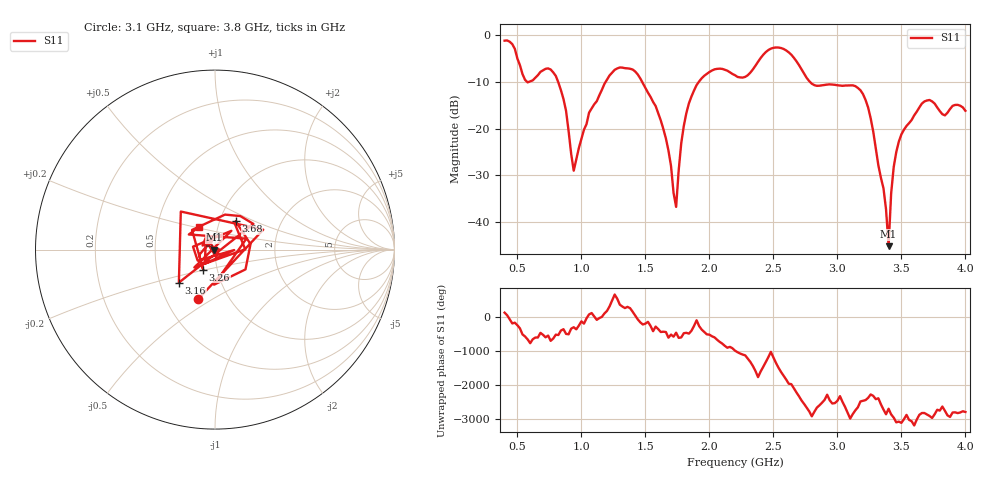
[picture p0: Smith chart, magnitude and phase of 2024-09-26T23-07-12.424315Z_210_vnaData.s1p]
!Created with skrf (http://scikit-rf.org).
# Hz S RI R 50.0
!freq ReS11 ImS11
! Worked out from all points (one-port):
!   181 points, 400 MHz to 4 GHz, reference 50 ohm
!   lowest |S11| = -45.1 dB at 3.4 GHz (marker M1), VSWR 1.01, Z = 49.4 + j0.00402 ohm
!   |S11| at or under -10 dB: 818.3 MHz to 1.189 GHz (370.8 MHz wide, 36.9 % of centre); 1.475 GHz to 1.917 GHz (442.6 MHz wide, 26.1 % of centre); 2.786 GHz to end of sweep (the widest 3 of 4)
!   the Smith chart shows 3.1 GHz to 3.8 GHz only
!   S11 on the Smith chart (normalised r, x): 3.1 GHz: 0.72, -0.43; 3.16 GHz: 0.63, -0.25; 3.26 GHz: 0.86, -0.19; 3.68 GHz: 1.19, +0.39; 3.8 GHz: 0.81, +0.21
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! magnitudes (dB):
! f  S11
! 400 MHz  -1.2
! 560 MHz  -9.6
! 760 MHz  -7.4
! 860 MHz  -13.7
! 940 MHz  -29.0
! 1.06 GHz  -16.6
! 1.3 GHz  -6.9
! 1.58 GHz  -15.2
! 1.68 GHz  -24.7
! 1.74 GHz  -36.7
! 1.76 GHz  -28.9
! 1.82 GHz  -16.7
! 1.9 GHz  -10.7
! 2.2 GHz  -8.6
! 2.5 GHz  -2.7
! 2.66 GHz  -4.8
! 2.82 GHz  -10.7
! 3.1 GHz  -10.7
! 3.16 GHz  -11.3
! 3.26 GHz  -17.8
! 3.36 GHz  -32.8
! 3.4 GHz  -45.1
! 3.42 GHz  -33.8
! 3.44 GHz  -28.2
! 3.56 GHz  -18.8
! 3.68 GHz  -14.2
! 3.8 GHz  -16.2
! 4 GHz  -16.2
